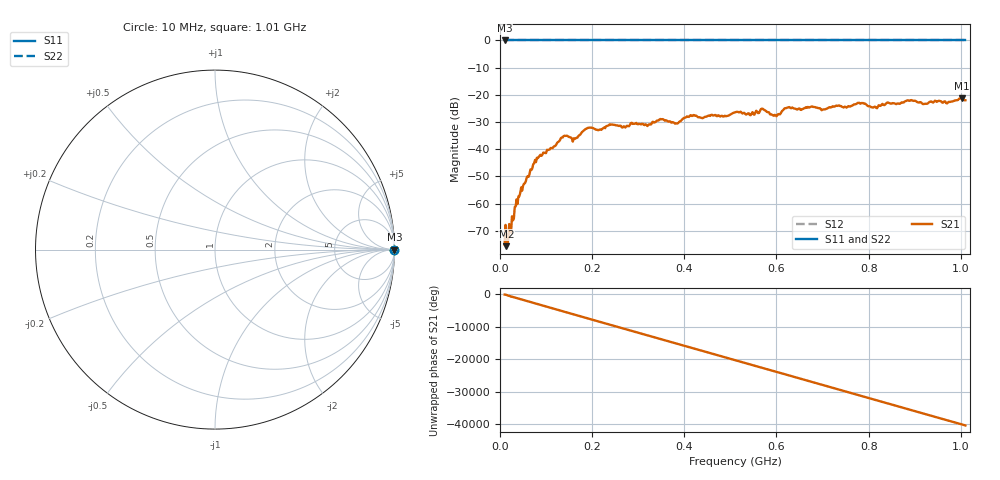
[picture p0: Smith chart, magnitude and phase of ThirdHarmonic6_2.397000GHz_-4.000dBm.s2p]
! 8/17/2025 3:55:33 AM
! C:\ANRITSUVNA\TEMP\TEMP.S2P
! CHANNEL.1
! TR.MEASUREMENT
! RAW.DATA
! RF.CORRECTION.OFF
! AVERAGING.OFF
! IF.BANDWIDTH: 5KHZ
! SWEEPTYPE:  FREQ.SWEEP(Linear)
! Reference Plane Port Info
! PORT:  PORT1  PORT2
! DISTANCE:  0  m  0  m
! TIME:  0  s  0  s
! PHASE.OFFSET:  0  deg.  0  deg.
! LOSS:  0  dB  0  dB
! REF.LOSS:  0  dB  0  dB
! REF.FREQ:  0  Hz  0  Hz
! Power Info
! POWER:  -20  dBm  -20  dBm
! EFF.POWER:  -20  dBm  -20  dBm
! SOURCE.ATTEN:  0  dB  0  dB
! TEST.ATTEN:  0  dB  0  dB
# GHZ S RI R 50.0
! FREQ.GHZ  S11RE  S11IM  S21RE  S21IM  S12RE  S12IM  S22RE  S22IM
!; PortSelection: Port_12
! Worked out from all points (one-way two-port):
!   501 points, 10 MHz to 1.01 GHz, reference 50 ohm
!   highest |S21| = -21.25 dB at 1.002 GHz (marker M1); lowest = -75.7 dB at 14 MHz (marker M2)
!   lowest |S11| = 0.0 dB at 10 MHz (marker M3)
!   |S11| at or under -10 dB: nowhere
!   |S22| runs from 0.0 to 0.0 dB; largest |S21 - S12| = 1.1
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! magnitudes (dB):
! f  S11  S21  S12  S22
! 10 MHz  0.0  -75.1  0.0  0.0
! 14 MHz  0.0  -75.7  0.0  0.0
! 20 MHz  0.0  -67.6  0.0  0.0
! 36 MHz  0.0  -58.5  0.0  0.0
! 76 MHz  0.0  -44.0  0.0  0.0
! 136 MHz  0.0  -35.7  0.0  0.0
! 162 MHz  0.0  -36.2  0.0  0.0
! 178 MHz  0.0  -33.7  0.0  0.0
! 344 MHz  0.0  -29.5  0.0  0.0
! 382 MHz  0.0  -30.5  0.0  0.0
! 416 MHz  0.0  -27.8  0.0  0.0
! 510 MHz  0.0  -26.4  0.0  0.0
! 570 MHz  0.0  -25.1  0.0  0.0
! 596 MHz  0.0  -27.4  0.0  0.0
! 624 MHz  0.0  -24.7  0.0  0.0
! 678 MHz  0.0  -24.3  0.0  0.0
! 702 MHz  0.0  -25.4  0.0  0.0
! 780 MHz  0.0  -22.9  0.0  0.0
! 814 MHz  0.0  -24.4  0.0  0.0
! 844 MHz  0.0  -23.0  0.0  0.0
! 1.002 GHz  0.0  -21.3  0.0  0.0
! 1.01 GHz  0.0  -22.0  0.0  0.0
